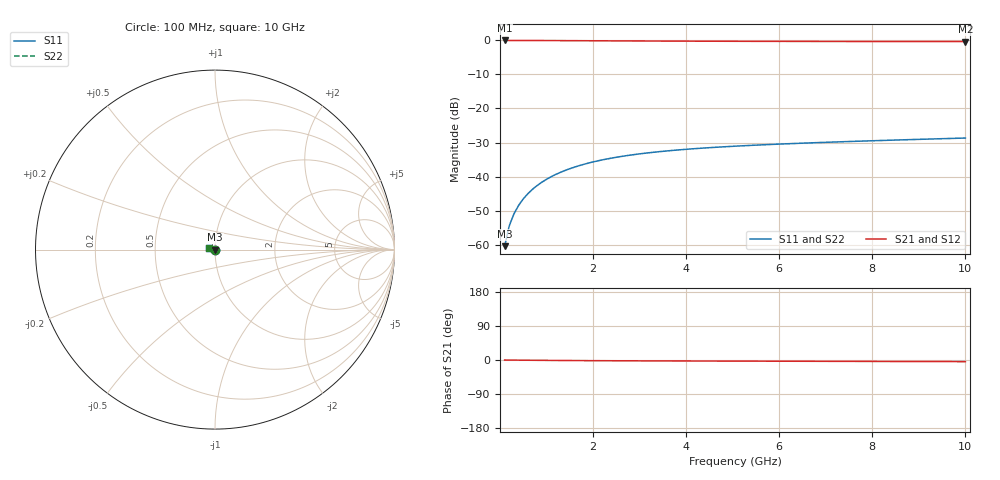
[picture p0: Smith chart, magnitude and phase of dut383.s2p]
! Touchstone file exported from HFSS 2024.1.0
!  File:  C:/UserFiles/LocalFiles/RDL_TSV_Batchsim/temp_TSV1_383_1779623051.aedt
!  Generated:  07:49:56 PM May 24, 2026
!  Design:  TSV1
!  Project:  temp_TSV1_383_1779623051
!  Setup:  Setup1
!  Solution:  Sweep
! Variables:
!  dtsv = 10.22um
!  hbump = 3um
!  htsv = 63.72um
!  lrdl = 252.1521522um
!  p = 40
!  p1 = 58.04um
!  t = 500um
!  trdl = 3um
!  wrdl = 24.89489489um
# GHz S MA R 50.000000
! Terminal data exported
! Port[1] = TSV22_T1
! Port[2] = TSV22_T2
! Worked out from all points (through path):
!   100 points, 100 MHz to 10 GHz, reference 50 ohm
!   highest |S21| = 0.00 dB at 100 MHz (marker M1); lowest = -0.3 dB at 10 GHz (marker M2)
!   lowest |S11| = -60.5 dB at 100 MHz (marker M3), VSWR 1.00, Z = 50 - j0.0944 ohm
!   |S11| at or under -10 dB: start of sweep to end of sweep
!   |S22| runs from -60.5 to -28.7 dB; largest |S21 - S12| = 2.9e-15
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0.1  0.0009475 -84.8  0.9998 -0.1  0.9998 -0.1  0.0009475 -84.8
! Gamma 0 0 0 0
! Port Impedance 50 0 50 0
0.2  0.001885 -90.4  0.9997 -0.2  0.9997 -0.2  0.001885 -90.4
0.3  0.002824 -93.7  0.9995 -0.3  0.9995 -0.3  0.002824 -93.7
0.4  0.003759 -96.4  0.9993 -0.4  0.9993 -0.4  0.003759 -96.4
0.5  0.004685 -98.9  0.999 -0.5  0.999 -0.5  0.004685 -98.9
0.6  0.0056 -101.3  0.9986 -0.6  0.9986 -0.6  0.0056 -101.3
0.7  0.006501 -103.5  0.9981 -0.7  0.9981 -0.7  0.006501 -103.5
0.8  0.007386 -105.7  0.9976 -0.8  0.9976 -0.8  0.007386 -105.7
0.9  0.008253 -107.9  0.9971 -0.9  0.9971 -0.9  0.008253 -107.9
1.1  0.009931 -112.0  0.9959 -1.1  0.9959 -1.1  0.009931 -112.0
1.4  0.01229 -118.0  0.9939 -1.3  0.9939 -1.3  0.01229 -118.0
1.6  0.01374 -121.7  0.9924 -1.5  0.9924 -1.5  0.01374 -121.7
1.8  0.01511 -125.3  0.9909 -1.6  0.9909 -1.6  0.01511 -125.3
2.1  0.01698 -130.4  0.9886 -1.8  0.9886 -1.8  0.01698 -130.4
2.5  0.01919 -136.7  0.9856 -2.0  0.9856 -2.0  0.01919 -136.7
2.9  0.02109 -142.4  0.9828 -2.2  0.9828 -2.2  0.02109 -142.4
3.4  0.02311 -148.9  0.9797 -2.4  0.9797 -2.4  0.02311 -148.9
4.2  0.02572 -157.9  0.9756 -2.7  0.9756 -2.7  0.02572 -157.9
5.1  0.02804 -166.5  0.9719 -2.9  0.9719 -2.9  0.02804 -166.5
6.7  0.03129 -178.9  0.9675 -3.4  0.9675 -3.4  0.03129 -178.9
8.4  0.03421 170.5  0.9645 -3.9  0.9645 -3.9  0.03421 170.5
10  0.03679 162.3  0.9625 -4.4  0.9625 -4.4  0.03679 162.3
